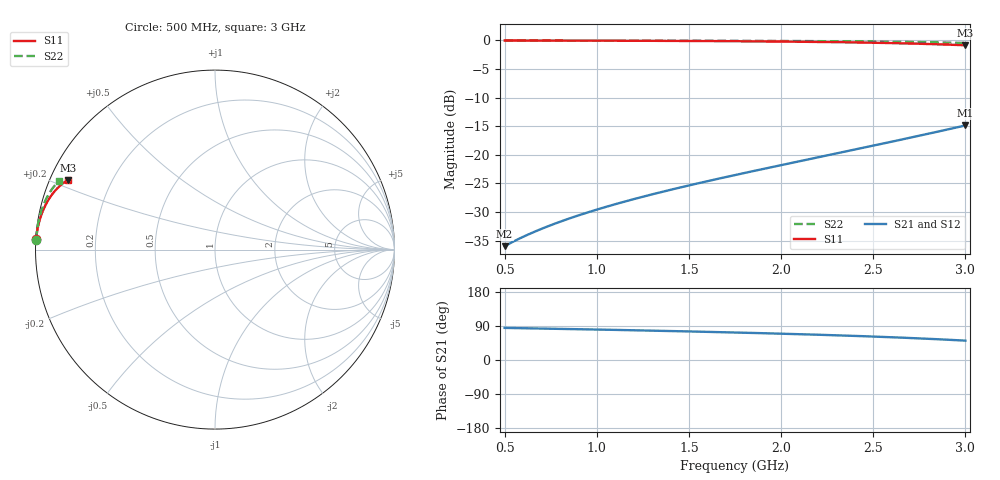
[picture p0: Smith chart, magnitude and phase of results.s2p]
! rfsim (KiCad + openEMS)
# HZ S RI R 50
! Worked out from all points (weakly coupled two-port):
!   251 points, 500 MHz to 3 GHz, reference 50 ohm
!   highest |S21| = -14.87 dB at 3 GHz (marker M1); lowest = -36.0 dB at 500 MHz (marker M2)
!   lowest |S11| = -0.9 dB at 3 GHz (marker M3), VSWR 20.42, Z = 2.57 + j11.2 ohm
!   |S11| at or under -10 dB: nowhere
!   |S22| runs from -0.4 to 0.0 dB; largest |S21 - S12| = 0.0012
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5e8  -0.9968 0.0581  0.00146 0.0159  0.00145 0.0158  -0.9976 0.0553
5.4e8  -0.9963 0.0628  0.00168 0.0171  0.00167 0.0171  -0.9972 0.0598
5.9e8  -0.9956 0.0686  0.00198 0.0188  0.00198 0.0188  -0.9967 0.0653
6.4e8  -0.9949 0.0745  0.00231 0.0204  0.00231 0.0204  -0.9962 0.0709
6.9e8  -0.9942 0.0803  0.00266 0.0221  0.00267 0.022  -0.9956 0.0765
7.4e8  -0.9934 0.0862  0.00304 0.0237  0.00306 0.0237  -0.995 0.0821
8e8  -0.9923 0.0933  0.00353 0.0258  0.00356 0.0257  -0.9943 0.0888
9.2e8  -0.99 0.1075  0.00467 0.0299  0.00471 0.0299  -0.9925 0.1023
1.01e9  -0.988 0.1183  0.00566 0.0331  0.00571 0.0331  -0.9911 0.1126
1.11e9  -0.9854 0.1304  0.00691 0.0368  0.00696 0.0367  -0.9893 0.1241
1.22e9  -0.9823 0.1439  0.00848 0.0409  0.00855 0.0409  -0.9871 0.1369
1.34e9  -0.9785 0.1588  0.0105 0.0457  0.0105 0.0456  -0.9843 0.1511
1.53e9  -0.9712 0.1828  0.0143 0.0536  0.0144 0.0535  -0.9792 0.174
1.75e9  -0.9608 0.2114  0.02 0.0635  0.0201 0.0634  -0.9719 0.2014
1.97e9  -0.9478 0.2409  0.0273 0.0745  0.0275 0.0743  -0.9627 0.2298
2.17e9  -0.9331 0.2687  0.0361 0.0856  0.0363 0.0853  -0.9523 0.2568
2.39e9  -0.9127 0.3003  0.0488 0.0989  0.049 0.0986  -0.938 0.288
2.59e9  -0.8892 0.3297  0.0641 0.1122  0.0645 0.1117  -0.9213 0.3176
2.7e9  -0.8737 0.346  0.0746 0.1198  0.075 0.1192  -0.9102 0.3344
2.8e9  -0.8577 0.3606  0.0857 0.1268  0.0861 0.1261  -0.8986 0.3498
2.9e9  -0.8396 0.3748  0.0986 0.1338  0.099 0.133  -0.8855 0.3652
3e9  -0.8192 0.3886  0.1134 0.1406  0.1139 0.1395  -0.8706 0.3806
